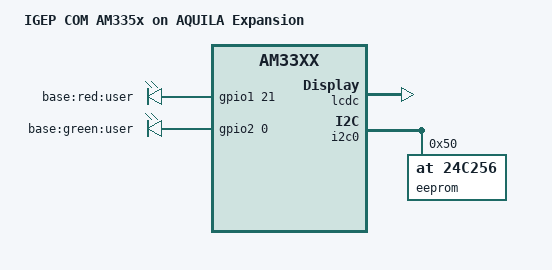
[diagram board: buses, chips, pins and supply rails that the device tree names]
/*
 * am335x-base0033.dts - Device Tree file for IGEP AQUILA EXPANSION
 *
 * Copyright (C) 2013 ISEE 2007 SL - http://www.isee.biz
 *
 * This program is free software; you can redistribute it and/or modify
 * it under the terms of the GNU General Public License version 2 as
 * published by the Free Software Foundation.
 */

#include "am335x-igep0033.dtsi"

/ {
	model = "IGEP COM AM335x on AQUILA Expansion";
	compatible = "isee,am335x-base0033", "isee,am335x-igep0033", "ti,am33xx";

	hdmi {
		compatible = "ti,tilcdc,slave";
		i2c = <&i2c0>;
		pinctrl-names = "default", "off";
		pinctrl-0 = <&nxp_hdmi_pins>;
		pinctrl-1 = <&nxp_hdmi_off_pins>;
		status = "okay";
	};

	leds_base {
		pinctrl-names = "default";
		pinctrl-0 = <&leds_base_pins>;

		compatible = "gpio-leds";

		led@0 {
			label = "base:red:user";
			gpios = <&gpio1 21 GPIO_ACTIVE_HIGH>;	/* gpio1_21 */
			default-state = "off";
		};

		led@1 {
			label = "base:green:user";
			gpios = <&gpio2 0 GPIO_ACTIVE_HIGH>;	/* gpio2_0 */
			default-state = "off";
		};
	};
};

&am33xx_pinmux {
	nxp_hdmi_pins: pinmux_nxp_hdmi_pins {
		pinctrl-single,pins = <
			AM33XX_IOPAD(0x9b0, PIN_OUTPUT | MUX_MODE3)	/* xdma_event_intr0.clkout1 */
			AM33XX_IOPAD(0x8a0, PIN_OUTPUT | MUX_MODE0)	/* lcd_data0 */
			AM33XX_IOPAD(0x8a4, PIN_OUTPUT | MUX_MODE0)	/* lcd_data1 */
			AM33XX_IOPAD(0x8a8, PIN_OUTPUT | MUX_MODE0)	/* lcd_data2 */
			AM33XX_IOPAD(0x8ac, PIN_OUTPUT | MUX_MODE0)	/* lcd_data3 */
			AM33XX_IOPAD(0x8b0, PIN_OUTPUT | MUX_MODE0)	/* lcd_data4 */
			AM33XX_IOPAD(0x8b4, PIN_OUTPUT | MUX_MODE0)	/* lcd_data5 */
			AM33XX_IOPAD(0x8b8, PIN_OUTPUT | MUX_MODE0)	/* lcd_data6 */
			AM33XX_IOPAD(0x8bc, PIN_OUTPUT | MUX_MODE0)	/* lcd_data7 */
			AM33XX_IOPAD(0x8c0, PIN_OUTPUT | MUX_MODE0)	/* lcd_data8 */
			AM33XX_IOPAD(0x8c4, PIN_OUTPUT | MUX_MODE0)	/* lcd_data9 */
			AM33XX_IOPAD(0x8c8, PIN_OUTPUT | MUX_MODE0)	/* lcd_data10 */
			AM33XX_IOPAD(0x8cc, PIN_OUTPUT | MUX_MODE0)	/* lcd_data11 */
			AM33XX_IOPAD(0x8d0, PIN_OUTPUT | MUX_MODE0)	/* lcd_data12 */
			AM33XX_IOPAD(0x8d4, PIN_OUTPUT | MUX_MODE0)	/* lcd_data13 */
			AM33XX_IOPAD(0x8d8, PIN_OUTPUT | MUX_MODE0)	/* lcd_data14 */
			AM33XX_IOPAD(0x8dc, PIN_OUTPUT | MUX_MODE0)	/* lcd_data15 */
			AM33XX_IOPAD(0x8e0, PIN_OUTPUT | MUX_MODE0)	/* lcd_vsync */
			AM33XX_IOPAD(0x8e4, PIN_OUTPUT | MUX_MODE0)	/* lcd_hsync */
			AM33XX_IOPAD(0x8e8, PIN_OUTPUT | MUX_MODE0)	/* lcd_pclk */
			AM33XX_IOPAD(0x8ec, PIN_OUTPUT | MUX_MODE0)	/* lcd_ac_bias_en */
		>;
	};
	nxp_hdmi_off_pins: pinmux_nxp_hdmi_off_pins {
		pinctrl-single,pins = <
			AM33XX_IOPAD(0x9b0, PIN_OUTPUT | MUX_MODE3)	/* xdma_event_intr0.clkout1 */
		>;
	};

	leds_base_pins: pinmux_leds_base_pins {
		pinctrl-single,pins = <
			AM33XX_IOPAD(0x854, PIN_OUTPUT_PULLDOWN | MUX_MODE7)	/* gpmc_a5.gpio1_21 */
			AM33XX_IOPAD(0x888, PIN_OUTPUT_PULLDOWN | MUX_MODE7)	/* gpmc_csn3.gpio2_0 */
		>;
	};
};

&lcdc {
	status = "okay";
};

&i2c0 {
	eeprom: eeprom@50 {
		compatible = "at,24c256";
		reg = <0x50>;
	};
};
